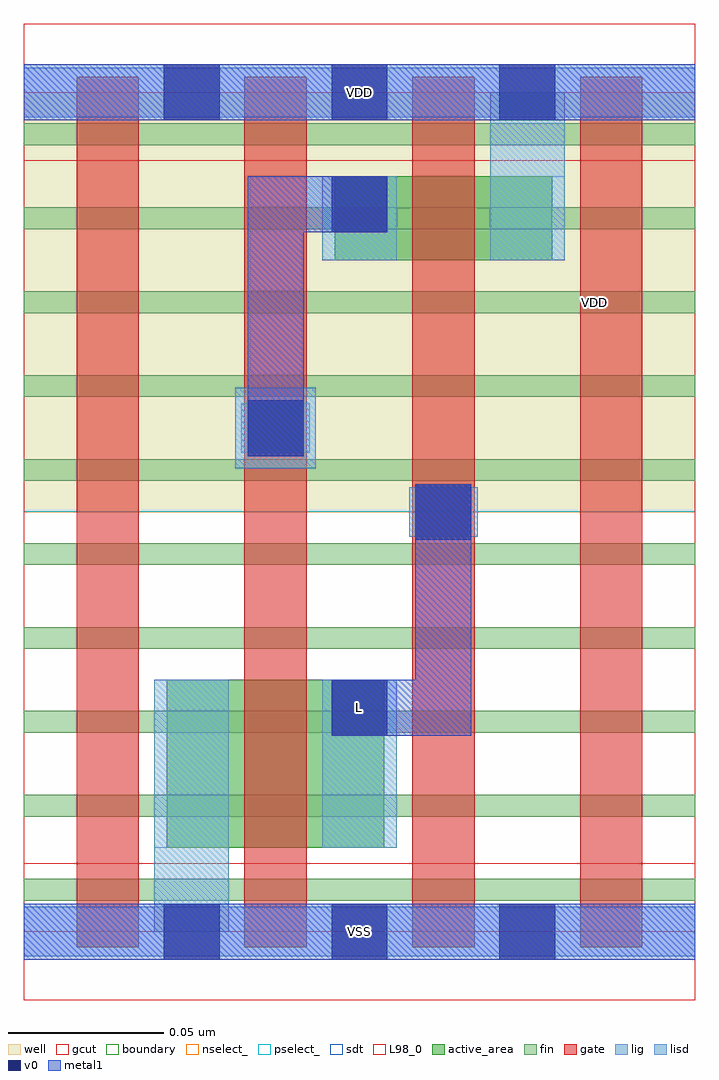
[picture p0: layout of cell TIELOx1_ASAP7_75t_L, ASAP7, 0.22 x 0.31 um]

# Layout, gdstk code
import gdstk
lib = gdstk.Library(unit=1e-6, precision=2.5e-10)
def R(c, l, rs):  # rectangles x0, y0, x1, y1
    for r in rs: c.add(gdstk.rectangle(r[:2], r[2:], *l))
def A(c, l, x, y, w, h, nx, ny, dx, dy):  # array of equal rectangles
    R(c, l, [(x+i*dx, y+j*dy, x+i*dx+w, y+j*dy+h) for i in range(nx) for j in range(ny)])
def P(c, l, *ps):  # polygons
    for p in ps: c.add(gdstk.Polygon(p, *l))
well = (1, 0)
fin = (2, 0)
gate = (7, 0)
gcut = (10, 0)
active_area = (11, 0)
nselect_ = (12, 0)
pselect_ = (13, 0)
lig = (16, 0)
lisd = (17, 0)
v0 = (18, 0)
metal1 = (19, 0)
sdt = (88, 0)
L98_0 = (98, 0)
boundary = (100, 0)

tielox1_asap7_75t_l = lib.new_cell('TIELOx1_ASAP7_75t_L')
R(tielox1_asap7_75t_l, well, [(0,0.135,0.216,0.27)])
A(tielox1_asap7_75t_l, fin, 0, 0.01, 0.216, 0.007, 1, 10, 0, 0.027)
A(tielox1_asap7_75t_l, gate, 0.017, -0.005, 0.02, 0.28, 4, 1, 0.054, 0)
R(tielox1_asap7_75t_l, gcut, [(0,-0.022,0.216,0.022), (0,0.248,0.216,0.292)])
R(tielox1_asap7_75t_l, active_area, [(0.046,0.027,0.116,0.081), (0.1,0.216,0.17,0.243)])
R(tielox1_asap7_75t_l, nselect_, [(0,0,0.216,0.135)])
R(tielox1_asap7_75t_l, pselect_, [(0,0.135,0.216,0.27)])
R(tielox1_asap7_75t_l, lig, [(0,-0.008,0.216,0.008), (0.124,0.127,0.146,0.143), (0.07,0.154,0.092,0.17), (0,0.262,0.216,0.278)])
R(tielox1_asap7_75t_l, lisd, [(0.042,0,0.066,0.081), (0.096,0.027,0.12,0.081), (0.068,0.149,0.094,0.175), (0.096,0.216,0.12,0.243), (0.15,0.216,0.174,0.27)])
A(tielox1_asap7_75t_l, v0, 0.045, -0.009, 0.018, 0.018, 3, 2, 0.054, 0.27)
R(tielox1_asap7_75t_l, v0, [(0.099,0.063,0.117,0.081), (0.126,0.126,0.144,0.144), (0.072,0.153,0.09,0.171), (0.099,0.225,0.117,0.243)])
R(tielox1_asap7_75t_l, metal1, [(0,-0.009,0.216,0.009), (0,0.261,0.216,0.279)])
P(tielox1_asap7_75t_l, metal1, [(0.126,0.144),(0.126,0.081),(0.099,0.081),(0.099,0.063),(0.144,0.063),(0.144,0.144)],
  [(0.09,0.225),(0.117,0.225),(0.117,0.243),(0.072,0.243),(0.072,0.153),(0.09,0.153)])
R(tielox1_asap7_75t_l, sdt, [(0.042,0.027,0.066,0.081), (0.096,0.027,0.12,0.081), (0.096,0.216,0.12,0.243), (0.15,0.216,0.174,0.243)])
R(tielox1_asap7_75t_l, L98_0, [(0,0,0.216,0.27)])
R(tielox1_asap7_75t_l, boundary, [(0,0,0.216,0.27)])
tielox1_asap7_75t_l.add(gdstk.Label('L', (0.108,0.072), layer=19, texttype=251))
tielox1_asap7_75t_l.add(gdstk.Label('VSS', (0.108,0), layer=19, texttype=251))
tielox1_asap7_75t_l.add(gdstk.Label('VDD', (0.108,0.27), layer=19, texttype=251))
tielox1_asap7_75t_l.add(gdstk.Label('VDD', (0.1835,0.2025), layer=1, texttype=251))
tielox1_asap7_75t_l.add(gdstk.Label('VSS', (0.2485,0.2025), layer=3, texttype=251))

lib.write_gds('TIELOx1_ASAP7_75t_L.gds')
